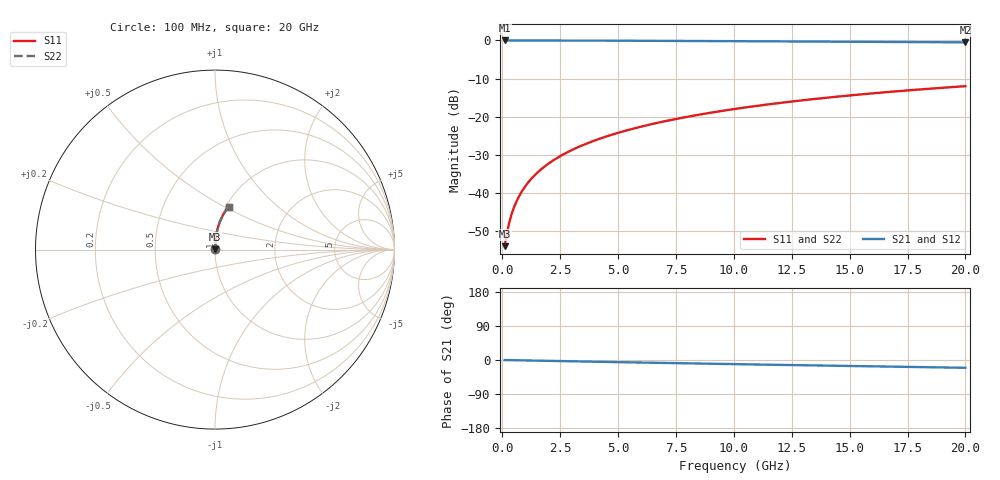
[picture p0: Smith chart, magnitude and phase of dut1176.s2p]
! Touchstone file exported from HFSS 2024.1.0
!  File:  C:/UserFiles/LocalFiles/RDL_TSV_Batchsim/temp_RDL_top_1176_1780049066.aedt
!  Generated:  06:06:41 PM May 29, 2026
!  Design:  RDL_top
!  Project:  temp_RDL_top_1176_1780049066
!  Setup:  Setup1
!  Solution:  Sweep
! Variables:
!  dtsv = 10.80580581um
!  hbump = 3um
!  htsv = 82.5um
!  ldown = 100um
!  lrdl = 226.01um
!  p = 40
!  p1 = 54.93um
!  rhole = 1um
!  t = 450um
!  tdown = 3.915915916um
!  trdl = 3.38um
!  wdown = 15.38538539um
!  wrdl = 17.48um
# GHz S MA R 50.000000
! Terminal data exported
! Port[1] = Box2_T1
! Port[2] = Box2_T2
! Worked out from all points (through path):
!   200 points, 100 MHz to 20 GHz, reference 50 ohm
!   highest |S21| = -0.01 dB at 100 MHz (marker M1); lowest = -0.5 dB at 20 GHz (marker M2)
!   group delay of S21, straight-line fit = 2.84 ps
!   lowest |S11| = -54.0 dB at 100 MHz (marker M3), VSWR 1.00, Z = 50.2 + j0.127 ohm
!   |S11| at or under -10 dB: start of sweep to end of sweep
!   |S22| runs from -54.0 to -12.0 dB; largest |S21 - S12| = 3.1e-15
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0.1  0.002005 39.3  0.9984 -0.1  0.9984 -0.1  0.002005 39.3
! Gamma 0 0 0 0
! Port Impedance 50 0 50 0
0.2  0.002985 57.8  0.9984 -0.2  0.9984 -0.2  0.002985 57.8
0.3  0.0041 66.4  0.9983 -0.4  0.9983 -0.4  0.0041 66.4
0.4  0.005251 71.2  0.9983 -0.5  0.9983 -0.5  0.005251 71.2
0.5  0.006414 74.3  0.9982 -0.6  0.9982 -0.6  0.006414 74.3
0.6  0.007583 76.5  0.9981 -0.7  0.9981 -0.7  0.007583 76.5
0.8  0.009934 79.4  0.998 -0.9  0.998 -0.9  0.009934 79.4
1.1  0.01349 81.9  0.9978 -1.3  0.9978 -1.3  0.01349 81.9
1.5  0.01827 83.7  0.9975 -1.7  0.9975 -1.7  0.01827 83.7
1.8  0.02188 84.5  0.9972 -2.1  0.9972 -2.1  0.02188 84.5
2.1  0.02551 85.0  0.9968 -2.4  0.9968 -2.4  0.02551 85.0
2.7  0.03282 85.6  0.996 -3.1  0.996 -3.1  0.03282 85.6
3.5  0.04265 85.9  0.9946 -4.0  0.9946 -4.0  0.04265 85.9
4.2  0.05135 86.0  0.9932 -4.8  0.9932 -4.8  0.05135 85.9
5  0.06139 85.8  0.9914 -5.7  0.9914 -5.7  0.06139 85.8
5.9  0.0728 85.4  0.9891 -6.6  0.9891 -6.6  0.0728 85.4
6.8  0.08431 84.8  0.9867 -7.6  0.9867 -7.6  0.08431 84.8
8.3  0.1037 83.8  0.9824 -9.2  0.9824 -9.2  0.1037 83.8
10.1  0.127 82.2  0.9769 -11.0  0.9769 -11.0  0.127 82.2
13.4  0.1695 79.1  0.9661 -14.3  0.9661 -14.3  0.1695 79.1
16.7  0.2111 75.8  0.9547 -17.5  0.9547 -17.5  0.2111 75.8
20  0.2511 72.5  0.9425 -20.6  0.9425 -20.6  0.2511 72.5
